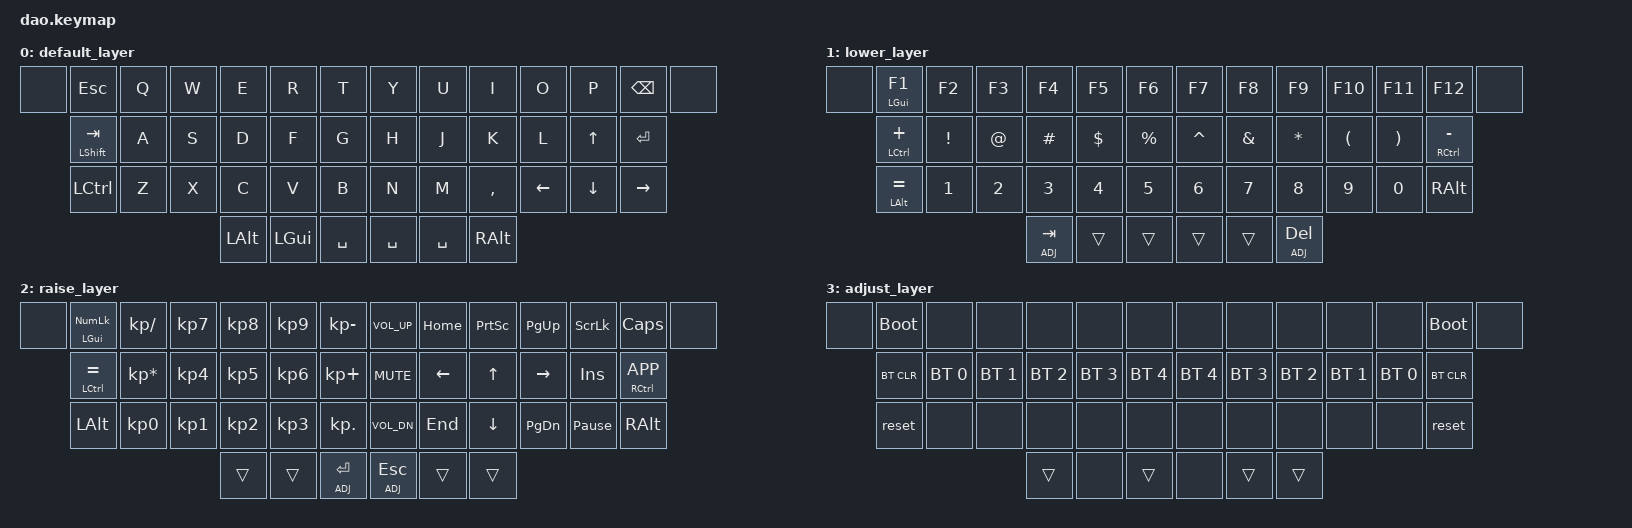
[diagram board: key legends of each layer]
/*
 * Copyright (c) 2021 Rafael Yumagulov
 *
 * SPDX-License-Identifier: MIT
 */

#include <behaviors.dtsi>
#include <dt-bindings/zmk/keys.h>
#include <dt-bindings/zmk/bt.h>

#define DEF 0
#define LWR 1
#define RSE 2
#define ADJ 3

&lt { quick_tap_ms = <200>; };
&mt { quick_tap_ms = <200>; };

/ {
        keymap {
                compatible = "zmk,keymap";

                default_layer {
                        bindings = <
&none &kp ESC         &kp Q           &kp W           &kp E           &kp R           &kp T           &kp Y           &kp U           &kp I           &kp O           &kp P           &kp BSPC        &none
      &mt LSHFT TAB   &kp A           &kp S           &kp D           &kp F           &kp G           &kp H           &kp J           &kp K           &kp L           &kp UP          &kp ENTER
      &kp LCTRL       &kp Z           &kp X           &kp C           &kp V           &kp B           &kp N           &kp M           &kp COMMA       &kp LEFT        &kp DOWN        &kp RIGHT
                                                      &kp LALT        &kp LGUI        &kp SPACE       &kp SPACE       &kp SPACE       &kp RALT
                        >;
                };
                lower_layer {
                        bindings = <
  &none   &mt LGUI F1      &kp F2     &kp F3   &kp F4        &kp F5     &kp F6      &kp F7      &kp F8     &kp F9        &kp F10    &kp F11    &kp F12           &none
          &mt LCTRL PLUS   &kp EXCL   &kp AT   &kp HASH      &kp DLLR   &kp PRCNT   &kp CARET   &kp AMPS   &kp STAR      &kp LPAR   &kp RPAR   &mt RCTRL MINUS
          &mt LALT EQUAL   &kp N1     &kp N2   &kp N3        &kp N4     &kp N5      &kp N6      &kp N7     &kp N8        &kp N9     &kp N0     &kp RALT
                                               &lt ADJ TAB   &trans     &trans      &trans      &trans     &lt ADJ DEL
                        >;
                };

                raise_layer {
                        bindings = <
  &none   &mt LGUI KP_NUM   &kp KP_SLASH      &kp KP_N7   &kp KP_N8   &kp KP_N9   &kp KP_MINUS   &kp C_VOL_UP   &kp HOME   &kp PSCRN   &kp PG_UP   &kp SLCK          &kp CLCK           &none
          &mt LCTRL EQUAL   &kp KP_MULTIPLY   &kp KP_N4   &kp KP_N5   &kp KP_N6   &kp KP_PLUS    &kp C_MUTE     &kp LEFT   &kp UP      &kp RIGHT   &kp INS           &mt RCTRL  K_APP
          &kp LALT          &kp KP_N0         &kp KP_N1   &kp KP_N2   &kp KP_N3   &kp KP_DOT     &kp C_VOL_DN   &kp END    &kp DOWN    &kp PG_DN   &kp PAUSE_BREAK   &kp RALT
                                                          &trans      &trans      &lt ADJ RET    &lt ADJ ESC    &trans     &trans
                        >;
                };
                adjust_layer {
                        bindings = <
  &none   &bootloader   &none          &none          &none          &none          &none          &none          &none          &none          &none          &none          &bootloader   &none
          &bt BT_CLR    &bt BT_SEL 0   &bt BT_SEL 1   &bt BT_SEL 2   &bt BT_SEL 3   &bt BT_SEL 4   &bt BT_SEL 4   &bt BT_SEL 3   &bt BT_SEL 2   &bt BT_SEL 1   &bt BT_SEL 0   &bt BT_CLR
          &reset        &none          &none          &none          &none          &none          &none          &none          &none          &none          &none          &reset
                                                      &trans         &none          &trans         &none          &trans         &trans
                        >;
                };
        };
};
